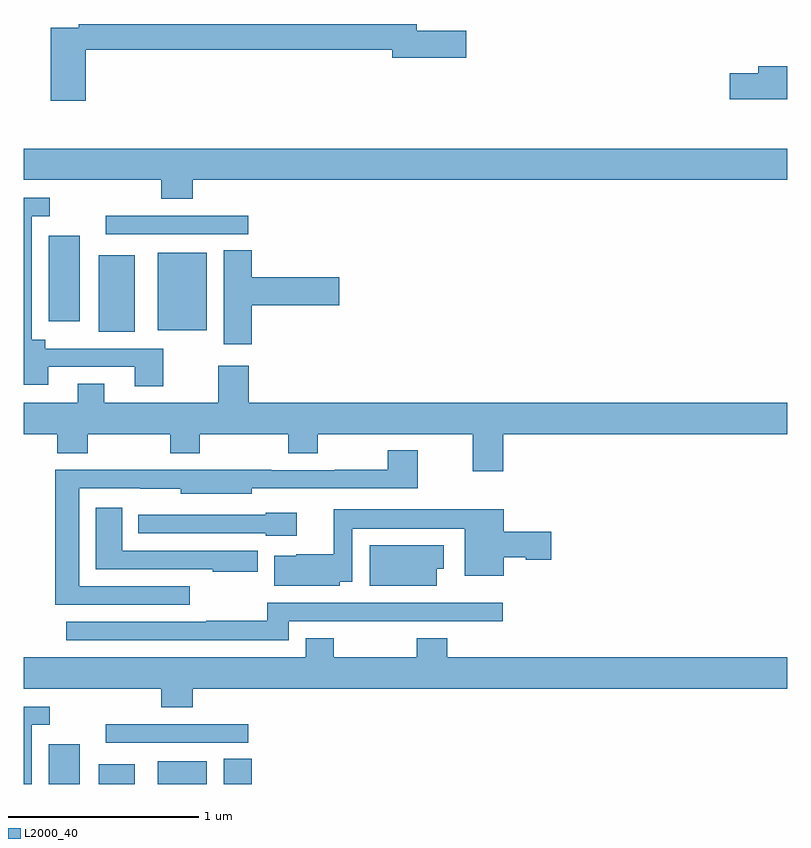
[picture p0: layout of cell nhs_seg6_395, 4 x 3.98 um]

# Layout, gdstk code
import gdstk
lib = gdstk.Library(unit=1e-6, precision=1e-09)
def R(c, l, rs):  # rectangles x0, y0, x1, y1
    for r in rs: c.add(gdstk.rectangle(r[:2], r[2:], *l))
def P(c, l, *ps):  # polygons
    for p in ps: c.add(gdstk.Polygon(p, *l))
L2000_40 = (2000, 40)

nhs_seg6_395 = lib.new_cell('nhs_seg6_395')
R(nhs_seg6_395, L2000_40, [(133.133,949.5,133.294,949.708), (133.394,949.5,133.582,949.603), (133.703,949.5,133.96,949.618), (134.048,949.5,134.195,949.631), (133.431,949.716,134.176,949.812), (133.394,951.869,133.582,952.27), (133.703,951.875,133.96,952.282), (133.133,951.924,133.294,952.372), (133.431,952.38,134.176,952.476)])
P(nhs_seg6_395, L2000_40, [(133.325,953.344),(134.93,953.344),(134.93,953.302),(135.319,953.302),(135.319,953.444),(135.058,953.444),(135.058,953.48),(133.288,953.48),(133.288,953.46),(133.142,953.46),(133.142,953.079),(133.325,953.079)],
  [(137,953.258),(136.847,953.258),(136.847,953.222),(136.698,953.222),(136.698,953.087),(137,953.087)],
  [(133.886,952.664),(137,952.664),(137,952.828),(133,952.828),(133,952.664),(133.721,952.664),(133.721,952.565),(133.886,952.565)],
  [(133.731,951.78),(133.114,951.78),(133.114,951.826),(133.044,951.826),(133.044,952.473),(133.138,952.473),(133.138,952.569),(133,952.569),(133,951.59),(133.129,951.59),(133.129,951.684),(133.583,951.684),(133.583,951.582),(133.731,951.582)],
  [(134.195,952.007),(134.653,952.007),(134.653,952.154),(134.195,952.154),(134.195,952.295),(134.048,952.295),(134.048,951.804),(134.195,951.804)],
  [(135.512,951.332),(137,951.332),(137,951.496),(134.18,951.496),(134.18,951.691),(134.02,951.691),(134.02,951.496),(133.423,951.496),(133.423,951.595),(133.283,951.595),(133.283,951.496),(133,951.496),(133,951.332),(133.175,951.332),(133.175,951.233),(133.335,951.233),(133.335,951.332),(133.768,951.332),(133.768,951.233),(133.923,951.233),(133.923,951.332),(134.386,951.332),(134.386,951.233),(134.541,951.233),(134.541,951.332),(135.352,951.332),(135.352,951.138),(135.512,951.138)],
  [(133.87,950.535),(133.291,950.535),(133.291,951.048),(133.612,951.048),(133.612,951.047),(133.824,951.047),(133.824,951.02),(134.196,951.02),(134.196,951.048),(135.063,951.048),(135.063,951.247),(134.908,951.247),(134.908,951.146),(134.629,951.146),(134.629,951.144),(134.296,951.144),(134.296,951.146),(133.166,951.146),(133.166,950.439),(133.87,950.439)],
  [(134.227,950.721),(133.516,950.721),(133.516,950.947),(133.379,950.947),(133.379,950.625),(133.991,950.625),(133.991,950.612),(134.227,950.612)],
  [(134.655,950.558),(134.721,950.558),(134.721,950.837),(135.311,950.837),(135.311,950.591),(135.514,950.591),(135.514,950.687),(135.63,950.687),(135.63,950.675),(135.763,950.675),(135.763,950.822),(135.514,950.822),(135.514,950.938),(134.624,950.938),(134.624,950.704),(134.427,950.704),(134.427,950.695),(134.312,950.695),(134.312,950.537),(134.655,950.537)],
  [(134.431,950.92),(134.268,950.92),(134.268,950.91),(133.601,950.91),(133.601,950.814),(134.268,950.814),(134.268,950.799),(134.431,950.799)],
  [(135.163,950.627),(135.199,950.627),(135.199,950.749),(134.813,950.749),(134.813,950.537),(135.163,950.537)],
  [(134.389,950.352),(134.713,950.352),(134.713,950.351),(134.969,950.351),(134.969,950.352),(135.508,950.352),(135.508,950.449),(135.259,950.449),(135.259,950.448),(134.275,950.448),(134.275,950.354),(133.957,950.354),(133.957,950.349),(133.224,950.349),(133.224,950.253),(134.389,950.253)],
  [(133.886,950),(137,950),(137,950.164),(135.218,950.164),(135.218,950.263),(135.058,950.263),(135.058,950.164),(134.625,950.164),(134.625,950.263),(134.477,950.263),(134.477,950.164),(133,950.164),(133,950),(133.721,950),(133.721,949.901),(133.886,949.901)],
  [(133.044,949.809),(133.138,949.809),(133.138,949.905),(133,949.905),(133,949.5),(133.044,949.5)])

lib.write_gds('nhs_seg6_395.gds')
